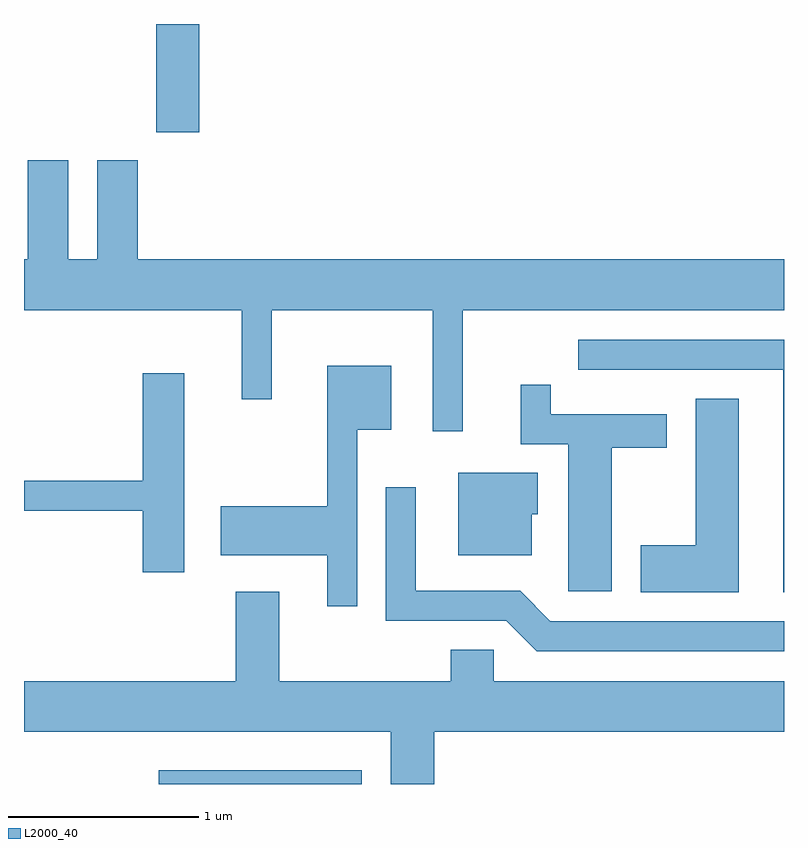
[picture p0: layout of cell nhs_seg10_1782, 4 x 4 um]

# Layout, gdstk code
import gdstk
lib = gdstk.Library(unit=1e-6, precision=1e-09)
def R(c, l, rs):  # rectangles x0, y0, x1, y1
    for r in rs: c.add(gdstk.rectangle(r[:2], r[2:], *l))
def P(c, l, *ps):  # polygons
    for p in ps: c.add(gdstk.Polygon(p, *l))
L2000_40 = (2000, 40)

nhs_seg10_1782 = lib.new_cell('nhs_seg10_1782')
R(nhs_seg10_1782, L2000_40, [(238.321,2122.522,239.389,2122.594), (238.306,2125.951,238.534,2126.522)])
P(nhs_seg10_1782, L2000_40, [(239.919,2125.016),(241.611,2125.016),(241.611,2125.284),(238.209,2125.284),(238.209,2125.804),(237.996,2125.804),(237.996,2125.284),(237.844,2125.284),(237.844,2125.804),(237.631,2125.804),(237.631,2125.284),(237.611,2125.284),(237.611,2125.016),(238.756,2125.016),(238.756,2124.548),(238.914,2124.548),(238.914,2125.016),(239.761,2125.016),(239.761,2124.378),(239.919,2124.378)],
  [(241.611,2124.859),(240.528,2124.859),(240.528,2124.701),(241.606,2124.701),(241.606,2123.531),(241.611,2123.531)],
  [(239.364,2124.386),(239.544,2124.386),(239.544,2124.724),(239.206,2124.724),(239.206,2123.984),(238.646,2123.984),(238.646,2123.726),(239.206,2123.726),(239.206,2123.458),(239.364,2123.458)],
  [(238.454,2124.684),(238.236,2124.684),(238.236,2124.119),(237.611,2124.119),(237.611,2123.961),(238.236,2123.961),(238.236,2123.636),(238.454,2123.636)],
  [(240.704,2124.291),(240.994,2124.291),(240.994,2124.469),(240.384,2124.469),(240.384,2124.623),(240.226,2124.623),(240.226,2124.311),(240.476,2124.311),(240.476,2123.536),(240.704,2123.536)],
  [(241.374,2124.549),(241.146,2124.549),(241.146,2123.779),(240.856,2123.779),(240.856,2123.531),(241.374,2123.531)],
  [(240.284,2123.941),(240.314,2123.941),(240.314,2124.159),(239.896,2124.159),(239.896,2123.726),(240.284,2123.726)],
  [(241.611,2123.379),(240.382,2123.379),(240.222,2123.539),(239.674,2123.539),(239.674,2124.083),(239.516,2124.083),(239.516,2123.381),(240.149,2123.381),(240.309,2123.221),(241.611,2123.221)],
  [(238.954,2123.534),(238.726,2123.534),(238.726,2123.064),(237.611,2123.064),(237.611,2122.796),(239.541,2122.796),(239.541,2122.522),(239.769,2122.522),(239.769,2122.796),(241.611,2122.796),(241.611,2123.064),(240.084,2123.064),(240.084,2123.229),(239.856,2123.229),(239.856,2123.064),(238.954,2123.064)])

lib.write_gds('nhs_seg10_1782.gds')
